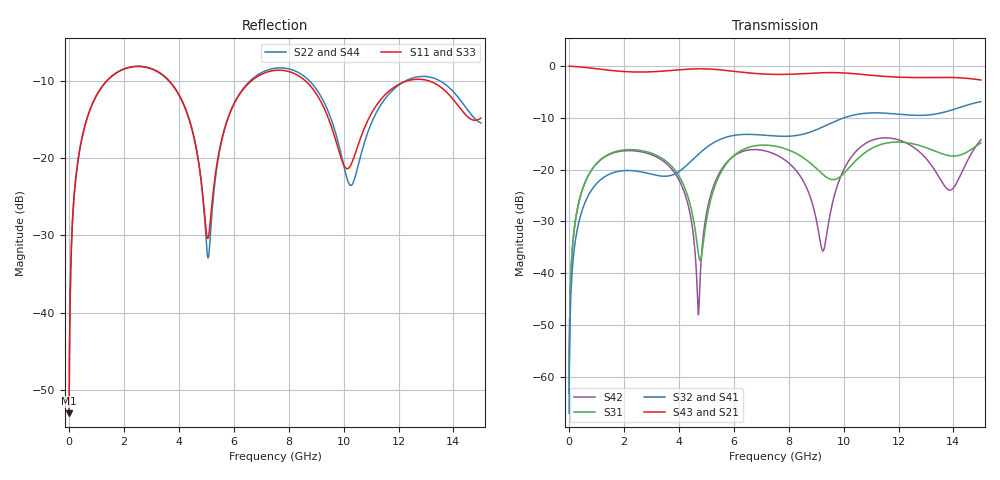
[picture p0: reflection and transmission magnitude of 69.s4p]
! Created with skrf 1.8.0 (http://scikit-rf.org).
# GHz S RI R 50.0
!freq ReS11 ImS11 ReS12 ImS12 ReS13 ImS13
! ReS14 ImS14
! ReS21 ImS21 ReS22 ImS22 ReS23 ImS23
! ReS24 ImS24
! ReS31 ImS31 ReS32 ImS32 ReS33 ImS33
! ReS34 ImS34
! ReS41 ImS41 ReS42 ImS42 ReS43 ImS43
! ReS44 ImS44
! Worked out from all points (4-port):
!   2499 points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, 5 MHz to 15 GHz, reference 50 ohm
!   strongest paths, dB at 5 MHz, 3.476 GHz, 7.19 GHz, 11.1 GHz, 15 GHz:
!     S43: 0.0, -0.9, -1.6, -1.8, -2.7
!     S21: 0.0, -1.0, -1.6, -1.8, -2.7
!     S32: -67.0, -21.3, -13.4, -9.0, -6.9
!     S41: -67.0, -21.3, -13.4, -9.0, -6.9
!     S31: -63.1, -18.1, -15.3, -15.7, -14.8
!     S42: -63.1, -18.5, -16.4, -14.2, -14.2
!   lowest |S11| = -53.0 dB at 5 MHz (marker M1), VSWR 1.00, Z = 50.2 + j0.135 ohm
!   |S11| at or under -10 dB: 3.643 GHz to 6.637 GHz (2.994 GHz wide, 58.3 % of centre); 8.616 GHz to 12.3 GHz (3.684 GHz wide, 35.2 % of centre); 13.12 GHz to end of sweep (the widest 3 of 4)
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0.005  0.00177 0.00135  0.9982 -0.00345  8.91e-05 0.000692  -8.65e-05 -0.000436
       0.9982 -0.00345  0.00177 0.00135  -8.65e-05 -0.000436  8.9e-05 0.000692
       8.91e-05 0.000692  -8.65e-05 -0.000436  0.00177 0.00135  0.9982 -0.00345
       -8.65e-05 -0.000436  8.9e-05 0.000692  0.9982 -0.00345  0.00177 0.00135
0.3126303  0.0274 0.0881  0.9625 -0.2139  0.0128 0.0406  -0.0104 -0.0252
           0.9625 -0.2139  0.0275 0.0881  -0.0104 -0.0252  0.0123 0.0407
           0.0128 0.0406  -0.0104 -0.0252  0.0274 0.0881  0.9625 -0.2139
           -0.0104 -0.0252  0.0123 0.0407  0.9625 -0.2139  0.0275 0.0881
1.419341  0.267 0.1808  0.556 -0.7255  0.1272 0.0578  -0.0887 -0.00742
          0.556 -0.7255  0.2686 0.1797  -0.0887 -0.00738  0.1223 0.0644
          0.1272 0.0578  -0.0887 -0.00738  0.2669 0.1808  0.556 -0.7255
          -0.0887 -0.00742  0.1223 0.0644  0.556 -0.7255  0.2686 0.1797
4.708212  0.0486 -0.0838  -0.8989 -0.2793  -0.0134 -0.00829  -0.0375 0.1354
          -0.8989 -0.2793  0.0416 -0.089  -0.0369 0.1355  0.00404 -0.0003
          -0.0134 -0.00829  -0.0369 0.1355  0.049 -0.0834  -0.8989 -0.2794
          -0.0375 0.1354  0.00404 -0.0003  -0.8989 -0.2794  0.0411 -0.089
5.877449  0.1293 0.1522  -0.8047 0.3984  0.0998 0.0782  0.119 0.1741
          -0.8047 0.3984  0.1249 0.1556  0.1196 0.1737  0.0955 0.0844
          0.0998 0.0782  0.1196 0.1737  0.1295 0.1518  -0.805 0.3981
          0.119 0.1741  0.0955 0.0844  -0.805 0.3981  0.1243 0.1557
10.2105  0.0868 0.00856  0.8468 0.0932  -0.032 0.1001  0.0306 -0.3278
         0.8468 0.0932  0.0655 -0.0171  0.0277 -0.3272  0.0259 0.1217
         -0.032 0.1001  0.0277 -0.3272  0.0923 0.0113  0.8468 0.0934
         0.0306 -0.3278  0.0259 0.1217  0.8468 0.0934  0.0595 -0.0145
15  0.1816 0.0106  -0.688 -0.2557  -0.1132 0.1422  -0.1664 0.4204
    -0.688 -0.2557  0.1638 -0.0429  -0.1642 0.4232  -0.0487 0.1882
    -0.1132 0.1422  -0.1642 0.4232  0.1753 0.00639  -0.6868 -0.2594
    -0.1664 0.4204  -0.0487 0.1882  -0.6868 -0.2594  0.1711 -0.0398
